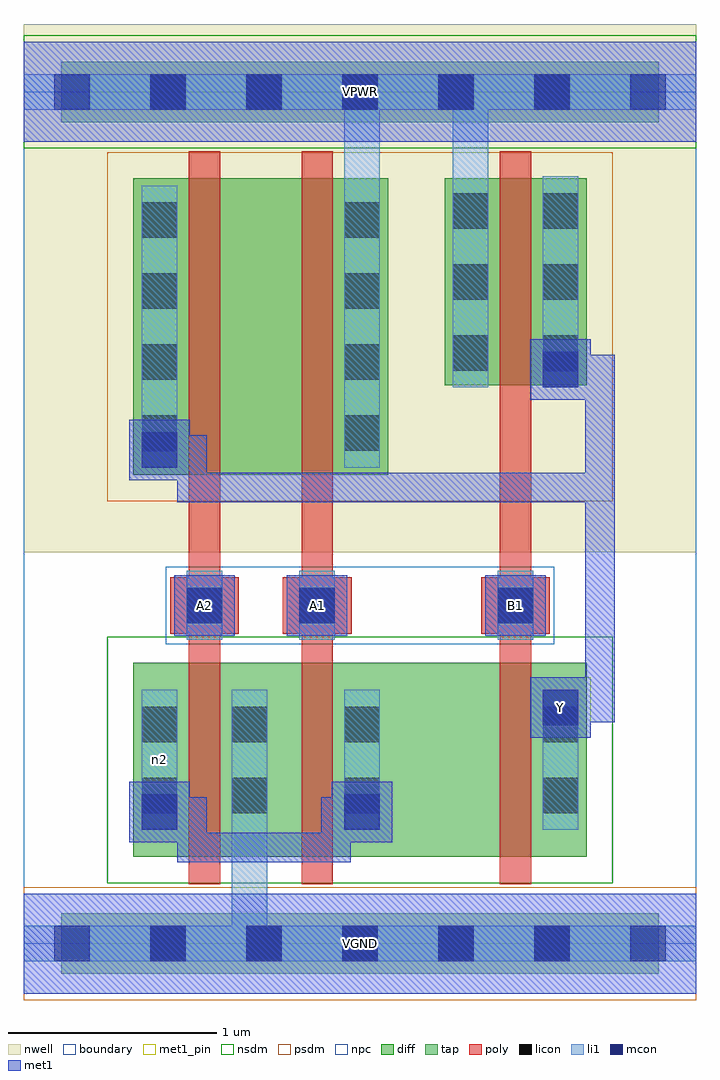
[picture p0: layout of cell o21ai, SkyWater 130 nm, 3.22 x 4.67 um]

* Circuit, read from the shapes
.subckt o21ai A1 A2 B1 VGND VPWR Y n2
XM1 VGND A2 n2 VGND sky130_fd_pr__nfet_01v8 w=0.93 l=0.15
XM2 n2 A1 VGND VGND sky130_fd_pr__nfet_01v8 w=0.93 l=0.15
XM3 Y B1 n2 VGND sky130_fd_pr__nfet_01v8 w=0.93 l=0.15
XM4 n1 A2 Y VPWR sky130_fd_pr__pfet_01v8 w=1.42 l=0.15
XM5 VPWR A1 n1 VPWR sky130_fd_pr__pfet_01v8 w=1.42 l=0.15
XM6 Y B1 VPWR VPWR sky130_fd_pr__pfet_01v8 w=0.99 l=0.15
.ends

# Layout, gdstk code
import gdstk
lib = gdstk.Library(unit=1e-6, precision=1e-09)
def R(c, l, rs):  # rectangles x0, y0, x1, y1
    for r in rs: c.add(gdstk.rectangle(r[:2], r[2:], *l))
def A(c, l, x, y, w, h, nx, ny, dx, dy):  # array of equal rectangles
    R(c, l, [(x+i*dx, y+j*dy, x+i*dx+w, y+j*dy+h) for i in range(nx) for j in range(ny)])
nwell = (64, 20)
diff = (65, 20)
tap = (65, 44)
poly = (66, 20)
licon = (66, 44)
li1 = (67, 20)
mcon = (67, 44)
met1_pin = (68, 16)
met1 = (68, 20)
nsdm = (93, 44)
psdm = (94, 20)
npc = (95, 20)
boundary = (235, 4)

o21ai = lib.new_cell('o21ai')
R(o21ai, nwell, [(0,1.875,3.22,4.405)])
R(o21ai, diff, [(0.525,0.415,2.695,1.345), (0.525,2.245,1.745,3.665), (2.015,2.675,2.695,3.665)])
R(o21ai, tap, [(0.18,-0.145,3.04,0.145), (0.18,3.935,3.04,4.225)])
R(o21ai, poly, [(0.79,0.285,0.94,3.795), (1.33,0.285,1.48,3.795), (2.28,0.285,2.43,3.795), (0.7,1.485,1.03,1.755), (1.24,1.485,1.57,1.755), (2.19,1.485,2.52,1.755)])
A(o21ai, licon, 0.605, -0.085, 0.17, 0.17, 5, 2, 0.46, 4.08)
A(o21ai, licon, 0.565, 2.36, 0.17, 0.17, 1, 4, 0, 0.34)
A(o21ai, licon, 1.535, 2.36, 0.17, 0.17, 1, 4, 0, 0.34)
A(o21ai, licon, 2.055, 2.745, 0.17, 0.17, 1, 3, 0, 0.34)
A(o21ai, licon, 2.485, 2.745, 0.17, 0.17, 1, 3, 0, 0.34)
R(o21ai, licon, [(0.565,0.625,0.735,0.795), (0.995,0.625,1.165,0.795), (1.535,0.625,1.705,0.795), (2.485,0.625,2.655,0.795), (0.565,0.965,0.735,1.135), (0.995,0.965,1.165,1.135), (1.535,0.965,1.705,1.135), (2.485,0.965,2.655,1.135), (0.78,1.535,0.95,1.705), (1.32,1.535,1.49,1.705), (2.27,1.535,2.44,1.705)])
R(o21ai, li1, [(0,-0.085,3.22,0.085), (0.995,-0.085,1.165,1.215), (0.565,0.545,0.735,1.215), (0.995,0.545,1.165,1.215), (1.535,0.545,1.705,1.215), (2.485,0.545,2.655,1.215), (0.78,1.455,0.95,1.785), (1.32,1.455,1.49,1.785), (2.27,1.455,2.44,1.785), (0.565,2.28,0.735,3.63), (1.535,2.28,1.705,3.63), (1.535,2.28,1.705,4.165), (2.055,2.665,2.225,3.675), (2.055,2.665,2.225,4.165), (2.485,2.665,2.655,3.675), (0,3.995,3.22,4.165)])
A(o21ai, mcon, 0.145, -0.085, 0.17, 0.17, 7, 2, 0.46, 4.08)
R(o21ai, mcon, [(0.565,0.545,0.735,0.715), (1.535,0.545,1.705,0.715), (2.485,1.045,2.655,1.215), (0.78,1.535,0.95,1.705), (1.32,1.535,1.49,1.705), (2.27,1.535,2.44,1.705), (0.565,2.28,0.735,2.45), (2.485,2.665,2.655,2.835)])
R(o21ai, met1_pin, [(0,-0.24,3.22,0.24), (2.425,0.985,2.715,1.275), (0.72,1.475,1.01,1.765), (1.26,1.475,1.55,1.765), (2.21,1.475,2.5,1.765), (0,3.84,3.22,4.32)])
R(o21ai, met1, [(0,-0.24,3.22,0.24), (0.735,0.39,0.875,0.7), (0.735,0.39,1.565,0.53), (1.425,0.39,1.565,0.7), (0.505,0.485,0.795,0.775), (1.475,0.485,1.765,0.775), (0.58,0.56,0.875,0.7), (1.425,0.56,1.69,0.7), (2.425,0.985,2.715,1.275), (2.5,1.06,2.83,1.2), (2.69,1.06,2.83,1.335), (2.69,1.195,2.83,2.715), (0.72,1.475,1.01,1.765), (1.26,1.475,1.55,1.765), (2.21,1.475,2.5,1.765), (0.735,2.115,0.875,2.435), (0.735,2.115,2.83,2.255), (0.505,2.22,0.795,2.51), (0.58,2.295,0.875,2.435), (2.69,2.575,2.83,2.82), (2.425,2.605,2.715,2.895), (2.5,2.68,2.83,2.82), (0,3.84,3.22,4.32)])
R(o21ai, nsdm, [(0.4,0.29,2.82,1.47), (0,3.81,3.22,4.35)])
R(o21ai, psdm, [(0,-0.27,3.22,0.27), (0.4,2.12,2.82,3.79)])
R(o21ai, npc, [(0.68,1.435,2.54,1.805)])
R(o21ai, boundary, [(0,0,3.22,4.08)])
o21ai.add(gdstk.Label('n2', (0.65,0.88), layer=67, texttype=5))
o21ai.add(gdstk.Label('A1', (1.405,1.62), layer=68, texttype=5))
o21ai.add(gdstk.Label('A2', (0.865,1.62), layer=68, texttype=5))
o21ai.add(gdstk.Label('B1', (2.355,1.62), layer=68, texttype=5))
o21ai.add(gdstk.Label('Y', (2.57,1.13), layer=68, texttype=5))
o21ai.add(gdstk.Label('VPWR', (1.61,4.08), layer=68, texttype=5))
o21ai.add(gdstk.Label('VGND', (1.61,0), layer=68, texttype=5))
o21ai.add(gdstk.Label('A1', (1.405,1.62), layer=68, texttype=16))
o21ai.add(gdstk.Label('A2', (0.865,1.62), layer=68, texttype=16))
o21ai.add(gdstk.Label('B1', (2.355,1.62), layer=68, texttype=16))
o21ai.add(gdstk.Label('Y', (2.57,1.13), layer=68, texttype=16))
o21ai.add(gdstk.Label('VPWR', (1.61,4.08), layer=68, texttype=16))
o21ai.add(gdstk.Label('VGND', (1.61,0), layer=68, texttype=16))

lib.write_gds('o21ai.gds')
